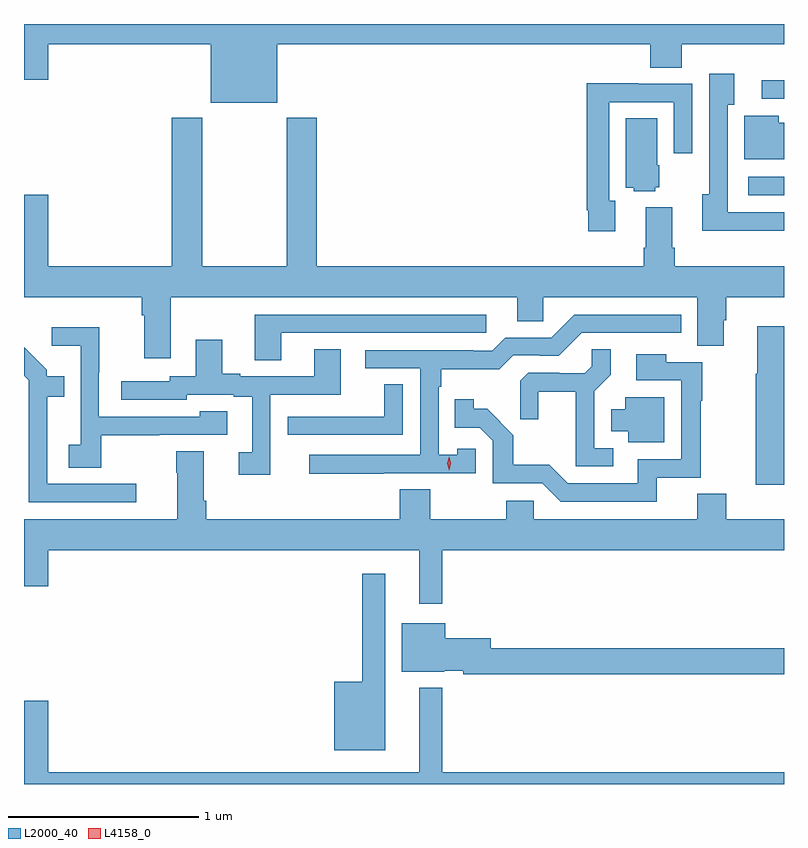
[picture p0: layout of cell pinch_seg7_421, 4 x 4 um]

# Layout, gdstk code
import gdstk
lib = gdstk.Library(unit=1e-6, precision=1e-09)
def R(c, l, rs):  # rectangles x0, y0, x1, y1
    for r in rs: c.add(gdstk.rectangle(r[:2], r[2:], *l))
def P(c, l, *ps):  # polygons
    for p in ps: c.add(gdstk.Polygon(p, *l))
L2000_40 = (2000, 40)
L4158_0 = (4158, 0)

pinch_seg7_421 = lib.new_cell('pinch_seg7_421')
R(pinch_seg7_421, L2000_40, [(336.687,1069.086,336.876,1069.182), (336.759,1069.593,336.876,1069.691)])
P(pinch_seg7_421, L2000_40, [(334.21,1069.88),(336.173,1069.88),(336.173,1069.756),(336.338,1069.756),(336.338,1069.88),(336.876,1069.88),(336.876,1069.986),(332.876,1069.986),(332.876,1069.692),(333.004,1069.692),(333.004,1069.88),(333.86,1069.88),(333.86,1069.571),(334.21,1069.571)],
  [(336.876,1068.996),(336.579,1068.996),(336.579,1069.562),(336.613,1069.562),(336.613,1069.723),(336.483,1069.723),(336.483,1069.09),(336.446,1069.09),(336.446,1068.899),(336.876,1068.899)],
  [(335.989,1069.055),(335.955,1069.055),(335.955,1069.575),(336.297,1069.575),(336.297,1069.305),(336.393,1069.305),(336.393,1069.671),(336.109,1069.671),(336.109,1069.675),(335.839,1069.675),(335.839,1069.006),(335.847,1069.006),(335.847,1068.894),(335.989,1068.894)],
  [(336.876,1069.467),(336.849,1069.467),(336.849,1069.503),(336.668,1069.503),(336.668,1069.275),(336.876,1069.275)],
  [(333.649,1068.548),(335.471,1068.548),(335.471,1068.421),(335.61,1068.421),(335.61,1068.548),(336.419,1068.548),(336.419,1068.292),(336.559,1068.292),(336.559,1068.426),(336.572,1068.426),(336.572,1068.548),(336.876,1068.548),(336.876,1068.712),(336.302,1068.712),(336.302,1068.808),(336.289,1068.808),(336.289,1069.021),(336.149,1069.021),(336.149,1068.808),(336.137,1068.808),(336.137,1068.712),(334.418,1068.712),(334.418,1069.492),(334.258,1069.492),(334.258,1068.712),(333.813,1068.712),(333.813,1069.492),(333.653,1069.492),(333.653,1068.712),(333.004,1068.712),(333.004,1069.087),(332.876,1069.087),(332.876,1068.548),(333.497,1068.548),(333.497,1068.452),(333.509,1068.452),(333.509,1068.228),(333.649,1068.228)],
  [(336.198,1069.128),(336.22,1069.128),(336.22,1069.242),(336.208,1069.242),(336.208,1069.49),(336.044,1069.49),(336.044,1069.124),(336.084,1069.124),(336.084,1069.106),(336.198,1069.106)],
  [(334.769,1067.622),(335.253,1067.622),(335.253,1067.751),(335.157,1067.751),(335.157,1067.719),(335.058,1067.719),(335.058,1068.077),(335.071,1068.077),(335.071,1068.17),(335.378,1068.17),(335.451,1068.243),(335.59,1068.243),(335.59,1068.24),(335.691,1068.24),(335.811,1068.36),(336.334,1068.36),(336.334,1068.456),(335.772,1068.456),(335.652,1068.336),(335.409,1068.336),(335.34,1068.267),(335.24,1068.267),(335.24,1068.27),(334.671,1068.27),(334.671,1068.174),(334.962,1068.174),(334.962,1067.718),(334.377,1067.718),(334.377,1067.62),(334.769,1067.62)],
  [(334.231,1068.36),(335.308,1068.36),(335.308,1068.456),(334.091,1068.456),(334.091,1068.217),(334.231,1068.217)],
  [(336.876,1068.394),(336.734,1068.394),(336.734,1068.146),(336.727,1068.146),(336.727,1067.91),(336.728,1067.91),(336.728,1067.562),(336.876,1067.562)],
  [(333.283,1067.821),(333.587,1067.821),(333.587,1067.823),(333.946,1067.823),(333.946,1067.947),(333.801,1067.947),(333.801,1067.919),(333.27,1067.919),(333.27,1068.152),(333.273,1068.152),(333.273,1068.391),(333.021,1068.391),(333.021,1068.293),(333.174,1068.293),(333.174,1067.772),(333.111,1067.772),(333.111,1067.65),(333.283,1067.65)],
  [(334.173,1068.036),(334.543,1068.036),(334.543,1068.275),(334.403,1068.275),(334.403,1068.132),(334.015,1068.132),(334.015,1068.145),(333.919,1068.145),(333.919,1068.325),(333.779,1068.325),(333.779,1068.132),(333.642,1068.132),(333.642,1068.105),(333.387,1068.105),(333.387,1068.009),(333.732,1068.009),(333.732,1068.036),(333.98,1068.036),(333.98,1068.024),(334.076,1068.024),(334.076,1067.733),(334.005,1067.733),(334.005,1067.613),(334.173,1067.613)],
  [(333.466,1067.565),(332.998,1067.565),(332.998,1068.024),(333.089,1068.024),(333.089,1068.133),(332.997,1068.133),(332.997,1068.165),(332.876,1068.286),(332.876,1068.136),(332.901,1068.111),(332.901,1067.469),(333.466,1067.469)],
  [(335.977,1067.754),(335.877,1067.754),(335.877,1068.053),(335.963,1068.139),(335.963,1068.275),(335.865,1068.275),(335.865,1068.184),(335.828,1068.147),(335.694,1068.147),(335.694,1068.15),(335.529,1068.15),(335.488,1068.109),(335.488,1067.907),(335.582,1067.907),(335.582,1068.05),(335.78,1068.05),(335.78,1067.658),(335.977,1067.658)],
  [(336.206,1067.598),(336.437,1067.598),(336.437,1068.004),(336.445,1068.004),(336.445,1068.207),(336.255,1068.207),(336.255,1068.247),(336.099,1068.247),(336.099,1068.111),(336.336,1068.111),(336.336,1067.694),(336.107,1067.694),(336.107,1067.568),(335.739,1067.568),(335.641,1067.667),(335.452,1067.667),(335.452,1067.822),(335.314,1067.96),(335.244,1067.96),(335.244,1068.01),(335.143,1068.01),(335.143,1067.862),(335.274,1067.862),(335.343,1067.793),(335.343,1067.568),(335.604,1067.568),(335.7,1067.472),(336.206,1067.472)],
  [(334.869,1068.089),(334.771,1068.089),(334.771,1067.919),(334.375,1067.919),(334.375,1067.918),(334.263,1067.918),(334.263,1067.823),(334.869,1067.823)],
  [(336.247,1068.022),(336.041,1068.022),(336.041,1067.959),(335.966,1067.959),(335.966,1067.843),(336.056,1067.843),(336.056,1067.786),(336.247,1067.786)],
  [(335.077,1067.216),(336.876,1067.216),(336.876,1067.38),(336.572,1067.38),(336.572,1067.513),(336.419,1067.513),(336.419,1067.38),(335.559,1067.38),(335.559,1067.478),(335.413,1067.478),(335.413,1067.38),(335.013,1067.38),(335.013,1067.537),(334.853,1067.537),(334.853,1067.38),(333.836,1067.38),(333.836,1067.476),(333.823,1067.476),(333.823,1067.737),(333.676,1067.737),(333.676,1067.624),(333.683,1067.624),(333.683,1067.38),(332.876,1067.38),(332.876,1067.028),(333.004,1067.028),(333.004,1067.216),(334.955,1067.216),(334.955,1066.935),(335.077,1066.935)],
  [(334.777,1067.092),(334.656,1067.092),(334.656,1066.525),(334.508,1066.525),(334.508,1066.163),(334.777,1066.163)],
  [(336.876,1066.7),(335.332,1066.7),(335.332,1066.753),(335.092,1066.753),(335.092,1066.831),(334.865,1066.831),(334.865,1066.577),(335.088,1066.577),(335.088,1066.583),(335.188,1066.583),(335.188,1066.564),(336.876,1066.564)],
  [(336.876,1066.048),(335.077,1066.048),(335.077,1066.492),(334.955,1066.492),(334.955,1066.048),(333.004,1066.048),(333.004,1066.423),(332.876,1066.423),(332.876,1065.986),(336.876,1065.986)])
P(pinch_seg7_421, L4158_0, [(335.113,1067.637),(335.113,1067.637),(335.103,1067.673),(335.113,1067.709),(335.113,1067.709),(335.113,1067.709),(335.123,1067.673),(335.113,1067.637)])

lib.write_gds('pinch_seg7_421.gds')
